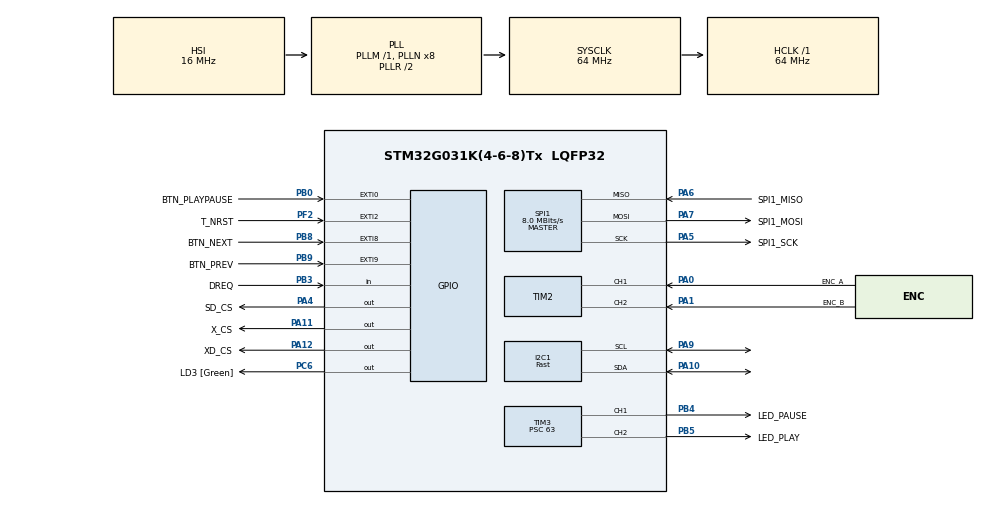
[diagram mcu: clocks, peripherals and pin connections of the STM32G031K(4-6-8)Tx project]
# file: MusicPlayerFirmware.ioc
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Dma.I2C1_TX.0.Direction=DMA_MEMORY_TO_PERIPH
Dma.I2C1_TX.0.EventEnable=DISABLE
Dma.I2C1_TX.0.Instance=DMA1_Channel1
Dma.I2C1_TX.0.MemDataAlignment=DMA_MDATAALIGN_BYTE
Dma.I2C1_TX.0.MemInc=DMA_MINC_ENABLE
Dma.I2C1_TX.0.Mode=DMA_NORMAL
Dma.I2C1_TX.0.PeriphDataAlignment=DMA_PDATAALIGN_BYTE
Dma.I2C1_TX.0.PeriphInc=DMA_PINC_DISABLE
Dma.I2C1_TX.0.Polarity=HAL_DMAMUX_REQ_GEN_RISING
Dma.I2C1_TX.0.Priority=DMA_PRIORITY_MEDIUM
Dma.I2C1_TX.0.RequestNumber=1
Dma.I2C1_TX.0.SignalID=NONE
Dma.I2C1_TX.0.SyncEnable=DISABLE
Dma.I2C1_TX.0.SyncPolarity=HAL_DMAMUX_SYNC_NO_EVENT
Dma.I2C1_TX.0.SyncRequestNumber=1
Dma.I2C1_TX.0.SyncSignalID=NONE
Dma.Request0=I2C1_TX
FATFS._CODE_PAGE=850
FATFS._FS_LOCK=1
FATFS._FS_MINIMIZE=1
FATFS._FS_NORTC=1
FATFS._FS_TINY=1
FATFS._NORTC_MDAY=1
FATFS._NORTC_MON=1
FATFS._NORTC_YEAR=2026
FATFS._STRF_ENCODE=0
FATFS._USE_FASTSEEK=0
FATFS._USE_LFN=0
FATFS._USE_MKFS=0
FATFS._USE_STRFUNC=0
I2C1.I2C_Speed_Mode=I2C_Fast
I2C1.OwnAddress=60
I2C1.Timing=0x00300617
Mcu.Family=STM32G0
Mcu.Name=STM32G031K(4-6-8)Tx
Mcu.Package=LQFP32
NVIC.DMA1_Channel1_IRQn=true\:0\:0\:false\:false\:true\:false\:true\:true
NVIC.EXTI0_1_IRQn=true\:0\:0\:false\:false\:true\:true\:true\:true
NVIC.EXTI2_3_IRQn=true\:0\:0\:false\:false\:true\:true\:true\:true
NVIC.EXTI4_15_IRQn=true\:0\:0\:false\:false\:true\:true\:true\:true
NVIC.I2C1_IRQn=true\:0\:0\:false\:false\:true\:true\:true\:true
NVIC.SPI1_IRQn=true\:0\:0\:false\:false\:true\:true\:true\:true
PA0.GPIO_Label=ENC_A
PA0.GPIO_ModeDefaultPP=GPIO_MODE_AF_PP
PA0.GPIO_PuPd=GPIO_NOPULL
PA0.GPIO_Speed=GPIO_SPEED_FREQ_LOW
PA0.Signal=S_TIM2_CH1_ETR
PA1.GPIO_Label=ENC_B
PA1.GPIO_ModeDefaultPP=GPIO_MODE_AF_PP
PA1.GPIO_PuPd=GPIO_NOPULL
PA1.GPIO_Speed=GPIO_SPEED_FREQ_LOW
PA1.Signal=S_TIM2_CH2
PA10.GPIO_Pu=GPIO_PULLUP
PA10.Mode=I2C
PA10.Signal=I2C1_SDA
PA11\ [PA9].GPIO_Label=X_CS
PA11\ [PA9].GPIO_ModeDefaultOutputPP=GPIO_MODE_OUTPUT_PP
PA11\ [PA9].GPIO_PuPd=GPIO_PULLUP
PA11\ [PA9].PinState=GPIO_PIN_SET
PA11\ [PA9].Signal=GPIO_Output
PA12\ [PA10].GPIO_Label=XD_CS
PA12\ [PA10].GPIO_ModeDefaultOutputPP=GPIO_MODE_OUTPUT_PP
PA12\ [PA10].GPIO_PuPd=GPIO_PULLUP
PA12\ [PA10].PinState=GPIO_PIN_SET
PA12\ [PA10].Signal=GPIO_Output
PA13.GPIO_Label=T_JTMS
PA13.Mode=Serial_Wire
PA13.Signal=SYS_SWDIO
PA14-BOOT0.GPIO_Label=T_JTCK
PA14-BOOT0.Mode=Serial_Wire
PA14-BOOT0.Signal=SYS_SWCLK
PA4.GPIO_Label=SD_CS
PA4.GPIO_ModeDefaultOutputPP=GPIO_MODE_OUTPUT_PP
PA4.GPIO_PuPd=GPIO_PULLUP
PA4.PinState=GPIO_PIN_SET
PA4.Signal=GPIO_Output
PA5.GPIO_Label=SPI1_SCK
PA5.GPIO_PuPd=GPIO_NOPULL
PA5.Mode=Full_Duplex_Master
PA5.Signal=SPI1_SCK
PA6.GPIO_Label=SPI1_MISO
PA6.GPIO_PuPd=GPIO_PULLUP
PA6.Mode=Full_Duplex_Master
PA6.Signal=SPI1_MISO
PA7.GPIO_Label=SPI1_MOSI
PA7.GPIO_PuPd=GPIO_PULLUP
PA7.Mode=Full_Duplex_Master
PA7.Signal=SPI1_MOSI
PA9.GPIO_Pu=GPIO_PULLUP
PA9.Mode=I2C
PA9.Signal=I2C1_SCL
PB0.GPIO_Label=BTN_PLAYPAUSE
PB0.GPIO_PuPd=GPIO_PULLDOWN
PB0.Signal=GPXTI0
PB3.GPIO_Label=DREQ
PB3.GPIO_PuPd=GPIO_PULLDOWN
PB3.Signal=GPIO_Input
PB4.GPIO_Label=LED_PAUSE
PB4.Signal=S_TIM3_CH1
PB5.GPIO_Label=LED_PLAY
PB5.Signal=S_TIM3_CH2
PB8.GPIO_Label=BTN_NEXT
PB8.GPIO_PuPd=GPIO_PULLDOWN
PB8.Signal=GPXTI8
PB9.GPIO_Label=BTN_PREV
PB9.GPIO_PuPd=GPIO_PULLDOWN
PB9.Signal=GPXTI9
PC14-OSC32_IN\ (PC14).Mode=LSE-External-Oscillator
PC14-OSC32_IN\ (PC14).Signal=RCC_OSC32_IN
PC15-OSC32_OUT\ (PC15).Mode=LSE-External-Oscillator
PC15-OSC32_OUT\ (PC15).Signal=RCC_OSC32_OUT
PC6.GPIO_Label=LD3 [Green]
PC6.Signal=GPIO_Output
PF2\ -\ NRST.GPIO_Label=T_NRST
PF2\ -\ NRST.Signal=GPXTI2
ProjectManager.HeapSize=0x200
ProjectManager.StackSize=0x400
ProjectManager.TargetToolchain=CMake
RCC.ADCFreq_Value=64000000
RCC.AHBFreq_Value=64000000
RCC.CortexFreq_Value=64000000
RCC.EXTERNAL_CLOCK_VALUE=12288000
RCC.HCLKFreq_Value=64000000
RCC.HSE_VALUE=8000000
RCC.HSI_VALUE=16000000
RCC.I2C1CLockSelection=RCC_I2C1CLKSOURCE_HSI
RCC.RTCClockSelection=RCC_RTCCLKSOURCE_LSE
RCC.SYSCLKFreq_VALUE=64000000
RCC.SYSCLKSource=RCC_SYSCLKSOURCE_PLLCLK
RCC.VCOOutputFreq_Value=128000000
SH.S_TIM2_CH1_ETR.0=TIM2_CH1,Encoder_Interface
SH.S_TIM2_CH2.0=TIM2_CH2,Encoder_Interface
SH.S_TIM3_CH1.0=TIM3_CH1,PWM Generation1 CH1
SH.S_TIM3_CH2.0=TIM3_CH2,PWM Generation2 CH2
SPI1.BaudRatePrescaler=SPI_BAUDRATEPRESCALER_8
SPI1.CalculateBaudRate=8.0 MBits/s
SPI1.Direction=SPI_DIRECTION_2LINES
SPI1.Mode=SPI_MODE_MASTER
SPI1.VirtualType=VM_MASTER
TIM2.EncoderMode=TIM_ENCODERMODE_TI12
TIM2.IC1Filter=0
TIM2.IC1Polarity=TIM_ICPOLARITY_FALLING
TIM2.IC2Filter=0
TIM2.IC2Polarity=TIM_ICPOLARITY_FALLING
TIM3.AutoReloadPreload=TIM_AUTORELOAD_PRELOAD_ENABLE
TIM3.Channel-PWM\ Generation1\ CH1=TIM_CHANNEL_1
TIM3.Channel-PWM\ Generation2\ CH2=TIM_CHANNEL_2
TIM3.OCMode_PWM-PWM\ Generation2\ CH2=TIM_OCMODE_PWM1
TIM3.Period=999
TIM3.Prescaler=63
TIM3.Pulse-PWM\ Generation1\ CH1=250
TIM3.Pulse-PWM\ Generation2\ CH2=250
VP_FATFS_VS_Generic.Mode=User_defined
board=NUCLEO-G031K8

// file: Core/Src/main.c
/* USER CODE BEGIN Header */
/**
  ******************************************************************************
  * @file           : main.c
  * @brief          : Main program body
  ******************************************************************************
  */
/* USER CODE END Header */
#include "main.h"
#include "dma.h"
#include "app_fatfs.h"
#include "i2c.h"
#include "spi.h"
#include "tim.h"
#include "gpio.h"

/* USER CODE BEGIN Includes */
#include <stdbool.h>
#include <string.h>
#include "ssd1306.h"
#include "ssd1306_fonts.h"
#include "vs1053.h"
#include "store.h"
/* USER CODE END Includes */

/* USER CODE BEGIN PTD */
typedef enum Event {
    EVENT_NONE,
    EVENT_NEXT,
    EVENT_PREV
} Event_t;

typedef struct EventQueue {
    volatile uint8_t head;
    volatile uint8_t tail;
    Event_t buffer[EVENT_QUEUE_SIZE];
} EventQueue_t;

typedef struct State {
    void (*init)(void);
    void (*run)(Event_t event);
} State_t;

typedef struct Encoder {
    TIM_HandleTypeDef* htim;
    int32_t last_counter;
    int32_t accum;
    int8_t steps;
} Encoder_t;

typedef enum ErrorType {
    ERROR_NONE,
    ERROR_DISK,
    ERROR_RESET
} ErrorType_t;

typedef enum DisplayMode {
    DISPLAY_MODE_PLAYBACK,
    DISPLAY_MODE_ERROR
} DisplayMode_t;

typedef struct MP3Info {
    char title[64];
    uint16_t duration;
} MP3Info_t;

typedef struct Flags {
    bool is_playing : 1;
    bool is_title : 1;
    bool is_tlen : 1;
} Flags_t;

/* USER CODE END PTD */

/* USER CODE BEGIN PD */
#define LED_PWM_TIM htim3
#define LED_PWM_SLOW 63999u
#define LED_PWM_FAST 63u
#define LED_PAUSE_CHANNEL TIM_CHANNEL_1
#define LED_PLAY_CHANNEL TIM_CHANNEL_2
#define COUNTS_PER_DETENT 4
#define SD_CHECK_INTERVAL 1000
#define DISPLAY_UPDATE_MS 250
#define LAST_VOLUME_UPDATE_MS 10000
/* USER CODE END PD */

/* USER CODE BEGIN PV */
/* Event Queue */
EventQueue_t event_queue = {0};

/* State */
const State_t STATE_PLAYBACK;
const State_t STATE_ERROR;

const State_t* current_state = &STATE_PLAYBACK;

/* Hardware */
Encoder_t encoder;
Flags_t flags = {0};
FATFS fatfs;
FIL file;

/* Audio */
uint16_t current_track = 1, max_tracks = 0;;
uint8_t volume = 0;
MP3Info_t mp3_info = {
    .title = "STARTUP...",
    .duration = 0
};

// MPEG-1 Layer III Bitrate Table (kbps)
static const uint16_t mpeg1_bitrates[15] =
    {0, 32, 40, 48, 56, 64, 80, 96, 112, 128, 160, 192, 224, 256, 320};

/* Error */
ErrorType_t current_error = ERROR_NONE;

/* USER CODE END PV */

void SystemClock_Config(void);
/* USER CODE BEGIN PFP */
/* Event queue */
void push_event(Event_t e);
Event_t pop_event(void);

/* State functions */
void change_state(const State_t* new_state);

void playback_init(void);
void playback_run(Event_t event);

void error_init(void);
void error_run(Event_t event);

/* Display */
void display_init(void);
void display_update(DisplayMode_t mode);

/* Rotary encoder */
void encoder_init(Encoder_t* enc, TIM_HandleTypeDef* htim);
void encoder_poll(Encoder_t* enc);

/* Audio */
uint8_t* track_path(void);
bool stream_chunk(void);
void open_file(void);
uint32_t read_be32(const uint8_t* p);
bool get_mp3_info(void);

/* SD card */
bool sdcard_init(void);
bool sdcard_recover(void);

/* USER CODE END PFP */

/* USER CODE BEGIN 0 */
const State_t STATE_PLAYBACK = {
    .init = playback_init,
    .run = playback_run,
};

const State_t STATE_ERROR = {
    .init = error_init,
    .run = error_run,
};

/* USER CODE END 0 */

int main(void) {

    /* MCU Configuration--------------------------------------------------------*/

    /* Reset of all peripherals, Initializes the Flash interface and the Systick. */
    HAL_Init();

    /* Configure the system clock */
    SystemClock_Config();

    /* Initialize all configured peripherals */
    MX_GPIO_Init();
    MX_DMA_Init();
    MX_I2C1_Init();
    MX_SPI1_Init();
    MX_TIM3_Init();
    MX_TIM2_Init();
    if (MX_FATFS_Init() != APP_OK) {
        Error_Handler();
    }
    /* USER CODE BEGIN 2 */
    encoder_init(&encoder, &htim2);
    display_init();

    if (!sdcard_init()) {
        current_error = ERROR_DISK;
        current_state = &STATE_ERROR;
    }

    if (!vs1053_init()) {
        current_error = ERROR_RESET;
        current_state = &STATE_ERROR;
    }

    if (!volume_load()) {
        volume = 50;
    }
    vs1053_set_volume(volume);

    display_update(DISPLAY_MODE_PLAYBACK);

    current_state->init();
    /* USER CODE END 2 */

    /* Infinite loop */
    /* USER CODE BEGIN WHILE */
    while (1) {
        // update the current encoder value
        encoder_poll(&encoder);
        static uint8_t last_saved_volume = 0;
        static uint32_t last_volume_change = 0;

        // use the encoder steps to a volume % in steps of 5
        if (encoder.steps != 0) {
            int16_t new_volume = (int16_t)(volume + encoder.steps * 5);

            if (new_volume < 0) new_volume = 0;
            if (new_volume > 100) new_volume = 100;

            volume = new_volume;
            encoder.steps = 0;
            vs1053_set_volume(volume);
            last_volume_change = HAL_GetTick();
        }

        // save after seconds to reduce flash where
        if (volume != last_saved_volume &&
            (HAL_GetTick() - last_volume_change) > LAST_VOLUME_UPDATE_MS) {
            if (volume_save()) {
                last_saved_volume = volume;
            }
        }

        // run the current state
        const Event_t event = pop_event();
        if (current_state->run) {
            current_state->run(event);
        }
        /* USER CODE END WHILE */

    }
}

void SystemClock_Config(void) {
    RCC_OscInitTypeDef RCC_OscInitStruct = {0};
    RCC_ClkInitTypeDef RCC_ClkInitStruct = {0};

    /** Configure the main internal regulator output voltage
    */
    HAL_PWREx_ControlVoltageScaling(PWR_REGULATOR_VOLTAGE_SCALE1);

    /** Initializes the RCC Oscillators according to the specified parameters
    * in the RCC_OscInitTypeDef structure.
    */
    RCC_OscInitStruct.OscillatorType = RCC_OSCILLATORTYPE_HSI;
    RCC_OscInitStruct.HSIState = RCC_HSI_ON;
    RCC_OscInitStruct.HSIDiv = RCC_HSI_DIV1;
    RCC_OscInitStruct.HSICalibrationValue = RCC_HSICALIBRATION_DEFAULT;
    RCC_OscInitStruct.PLL.PLLState = RCC_PLL_ON;
    RCC_OscInitStruct.PLL.PLLSource = RCC_PLLSOURCE_HSI;
    RCC_OscInitStruct.PLL.PLLM = RCC_PLLM_DIV1;
    RCC_OscInitStruct.PLL.PLLN = 8;
    RCC_OscInitStruct.PLL.PLLP = RCC_PLLP_DIV2;
    RCC_OscInitStruct.PLL.PLLQ = RCC_PLLQ_DIV2;
    RCC_OscInitStruct.PLL.PLLR = RCC_PLLR_DIV2;
    if (HAL_RCC_OscConfig(&RCC_OscInitStruct) != HAL_OK) {
        Error_Handler();
    }

    /** Initializes the CPU, AHB and APB buses clocks
    */
    RCC_ClkInitStruct.ClockType = RCC_CLOCKTYPE_HCLK | RCC_CLOCKTYPE_SYSCLK
        | RCC_CLOCKTYPE_PCLK1;
    RCC_ClkInitStruct.SYSCLKSource = RCC_SYSCLKSOURCE_PLLCLK;
    RCC_ClkInitStruct.AHBCLKDivider = RCC_SYSCLK_DIV1;
    RCC_ClkInitStruct.APB1CLKDivider = RCC_HCLK_DIV1;

    if (HAL_RCC_ClockConfig(&RCC_ClkInitStruct, FLASH_LATENCY_2) != HAL_OK) {
        Error_Handler();
    }
}

/* USER CODE BEGIN 4 */
void HAL_GPIO_EXTI_Rising_Callback(uint16_t GPIO_Pin) {
    static uint32_t last_tick = 0;
    const uint32_t current_tick = HAL_GetTick();

    // had a very bouncy button
    if ((current_tick - last_tick) < 100)
        return;

    last_tick = current_tick;

    switch (GPIO_Pin) {
    case BTN_PLAYPAUSE_Pin:
        flags.is_playing ^= true;
        if (flags.is_playing) {
            HAL_TIM_PWM_Stop(&LED_PWM_TIM, LED_PAUSE_CHANNEL);
            HAL_TIM_PWM_Start(&LED_PWM_TIM, LED_PLAY_CHANNEL);
        }
        else {
            HAL_TIM_PWM_Start(&LED_PWM_TIM, LED_PAUSE_CHANNEL);
            HAL_TIM_PWM_Stop(&LED_PWM_TIM, LED_PLAY_CHANNEL);
        }
        break;
    case BTN_NEXT_Pin:
        push_event(EVENT_NEXT);
        break;
    case BTN_PREV_Pin:
        push_event(EVENT_PREV);
        break;
    default:
        Error_Handler();
        break;
    }
}

void HAL_I2C_MemTxCpltCallback(I2C_HandleTypeDef* hi2c) {
    if (hi2c == &SSD1306_I2C_PORT) {
        ssd1306_dma_busy = false;
    }
}

void HAL_I2C_ErrorCallback(I2C_HandleTypeDef* hi2c) {
    if (hi2c == &SSD1306_I2C_PORT) {
        ssd1306_dma_busy = false;
    }
}

uint8_t* track_path(void) {
    static uint8_t track_path_buffer[] = "audio/000.mp3";

    if (current_track > max_tracks)
        current_track = 1;

    if (current_track < 1)
        current_track = max_tracks;

    // Write digits into the buffer
    track_path_buffer[6] = '0' + (current_track / 100);
    track_path_buffer[7] = '0' + ((current_track / 10) % 10);
    track_path_buffer[8] = '0' + (current_track % 10);

    return track_path_buffer;
}

bool stream_chunk(void) {
    uint8_t buffer[1024] = {};
    UINT bytes_read = 0;

    if (f_read(&file, buffer, sizeof(buffer), &bytes_read) != FR_OK) {
        f_close(&file);
        vs1053_start_new_track();
        current_error = ERROR_DISK;
        change_state(&STATE_ERROR);
        return false;
    }

    if (bytes_read == 0)
        return false;

    vs1053_send_data(buffer, bytes_read);
    return true;
}

uint32_t read_be32(const uint8_t* p) {
    return ((uint32_t)p[0] << 24) | ((uint32_t)p[1] << 16) | ((uint32_t)p[2] << 8) | p[3];
}

bool get_mp3_info(void) {
    uint8_t buf[64];
    UINT br;

    mp3_info.duration = 0;
    mp3_info.title[0] = '\0';

    f_lseek(&file, 0);
    if (f_read(&file, buf, 10, &br) != FR_OK || br != 10)
        return false;

    uint32_t audio_start = 0;

    // parse the ID3 tag
    if (memcmp(buf, "ID3", 3) == 0) {
        const uint8_t version = buf[3];

        // 28‑bit tag size
        const uint32_t tag_size =
            ((uint32_t)buf[6] << 21) |
            ((uint32_t)buf[7] << 14) |
            ((uint32_t)buf[8] << 7) |
            buf[9];

        uint32_t pos = 10;
        const uint32_t end = 10 + tag_size;
        audio_start = end;

        f_lseek(&file, pos);

        // Iterate through ID3 frames
        while (pos + 6 < end) {
            const uint8_t need = (version == 2) ? 6 : 10;
            if (f_read(&file, buf, need, &br) != FR_OK || br != need) break;
            if (buf[0] == 0) break;

            uint32_t size;
            flags.is_title = false;
            flags.is_tlen = false;

            if (version == 2) {
                flags.is_title = (memcmp(buf, "TT2", 3) == 0);
                flags.is_tlen = (memcmp(buf, "TLE", 3) == 0);
                size = ((uint32_t)buf[3] << 16) | ((uint32_t)buf[4] << 8) | buf[5];
            }
            else {
                flags.is_title = (memcmp(buf, "TIT2", 4) == 0);
                flags.is_tlen = (memcmp(buf, "TLEN", 4) == 0);
                size = (version == 4)
                           ? (((uint32_t)buf[4] << 21) | ((uint32_t)buf[5] << 14) | ((uint32_t)buf[6] << 7) | buf[7])
                           : (((uint32_t)buf[4] << 24) | ((uint32_t)buf[5] << 16) | ((uint32_t)buf[6] << 8) | buf[7]);
            }

            if (size == 0 || size > 100000) {
                pos += need;
                f_lseek(&file, pos);
                continue;
            }

            // Extract the title
            if (flags.is_title && mp3_info.title[0] == '\0') {
                const uint32_t r = (size < 64) ? size : 64;
                if (f_read(&file, buf, r, &br) == FR_OK && br == r) {
                    if (buf[0] == 0) {
                        memcpy(mp3_info.title, &buf[1], r - 1);
                        mp3_info.title[r - 1] = '\0';
                    }
                    else if (buf[0] == 1) {
                        uint8_t j = 0;
                        for (uint32_t i = 3; i + 1 < r && j < 63; i += 2) {
                            if (buf[i] == 0) break;
                            mp3_info.title[j++] = buf[i];
                        }
                        mp3_info.title[j] = '\0';
                    }
                }
            }

            // Extract TLEN (duration in ms)
            else if (flags.is_tlen && mp3_info.duration == 0) {
                const uint32_t r = (size < 12) ? size : 12;
                if (f_read(&file, buf, r, &br) == FR_OK && br == r) {
                    uint32_t ms = 0;
                    for (uint8_t i = 0; i < r && buf[i] >= '0' && buf[i] <= '9'; i++)
                        ms = ms * 10 + (buf[i] - '0');
                    mp3_info.duration = ms / 1000;
                }
            }
            pos += need + size;
            f_lseek(&file, pos);

            if (mp3_info.title[0] != '\0' && mp3_info.duration > 0) break;
        }
    }

    // parse the fist MP3 header
    f_lseek(&file, audio_start);
    if (f_read(&file, buf, 4, &br) != FR_OK || br != 4) return true;

    // Validate frame sync
    if ((buf[0] != 0xFF) || (buf[1] & 0xE0) != 0xE0) return true;

    const uint8_t ver = (buf[1] >> 3) & 0x03;
    const uint8_t br_i = (buf[2] >> 4) & 0x0F;
    const uint8_t sr_i = (buf[2] >> 2) & 0x03;

    if (sr_i == 3) return true;

    // Sample rate lookup table
    static const uint16_t sr_table[3][3] = {
        {44100, 48000, 32000},
        {22050, 24000, 16000},
        {11025, 12000, 8000}
    };

    const uint16_t sample_rate = sr_table[ver == 3 ? 0 : ver == 2 ? 1 : 2][sr_i];

    // Side info size depends on MPEG version
    const uint8_t side_info = (ver == 3) ? 32 : 17;

    f_lseek(&file, audio_start + 4 + side_info);
    if (f_read(&file, buf, 8, &br) == FR_OK && br == 8) {
        // Xing / Info VBR header
        if (memcmp(buf, "Xing", 4) == 0 || memcmp(buf, "Info", 4) == 0) {
            if (buf[7] & 0x01) {
                if (f_read(&file, buf, 4, &br) == FR_OK && br == 4) {
                    mp3_info.duration = (read_be32(buf) * 1152UL) / sample_rate;
                }
            }
        }
        // VBRI header
        else if (memcmp(buf, "VBRI", 4) == 0) {
            f_lseek(&file, audio_start + 4 + side_info + 10);
            if (f_read(&file, buf, 4, &br) == FR_OK && br == 4) {
                mp3_info.duration = (read_be32(buf) * 1152UL) / sample_rate;
            }
        }
    }

    // Fallback: estimate duration from file size + bitrate
    if (mp3_info.duration == 0 && br_i > 0 && br_i < 15 && ver == 3) {
        const uint32_t file_size = f_size(&file);
        if (file_size > audio_start) {
            const uint32_t audio_bytes = file_size - audio_start;
            mp3_info.duration = (audio_bytes / 125) / mpeg1_bitrates[br_i];
        }
    }

    return true;
}

void open_file(void) {
    const uint8_t* path = track_path();

    // Try opening current track
    if (f_open(&file, (const TCHAR*)path, FA_READ) != FR_OK) {
        // Wrap to track 1
        current_track = 1;
        path = track_path();

        if (f_open(&file, (const TCHAR*)path, FA_READ) != FR_OK) {
            f_close(&file);
            vs1053_start_new_track();
            current_error = ERROR_DISK;
            change_state(&STATE_ERROR);
        }
    }

    if (!get_mp3_info()) {
        strncpy(mp3_info.title, "UNKNOWN", sizeof(mp3_info.title) - 1);
        mp3_info.title[sizeof(mp3_info.title) - 1] = '\0';
        mp3_info.duration = 0;
    }
}

void playback_init(void) {
    __HAL_TIM_SET_PRESCALER(&LED_PWM_TIM, LED_PWM_FAST);
    HAL_TIM_PWM_Start(&LED_PWM_TIM, LED_PAUSE_CHANNEL);
    HAL_TIM_PWM_Stop(&LED_PWM_TIM, LED_PLAY_CHANNEL);

    DIR dir;
    FILINFO fno;

    max_tracks = 0;

    FRESULT res = f_opendir(&dir, "audio");
    if (res == FR_OK) {
        for (;;) {
            res = f_readdir(&dir, &fno); // Read a directory item
            if (res != FR_OK || fno.fname[0] == 0) break;

            if (!(fno.fattrib & (AM_DIR | AM_HID | AM_SYS))) {
                ++max_tracks;
            }
        }
        f_closedir(&dir); // Close the directory
    }

    open_file();
}

void playback_run(const Event_t event) {
    switch (event) {
    case EVENT_NEXT:
        f_close(&file);
        vs1053_start_new_track();

        ++current_track;
        open_file();
        break;
    case EVENT_PREV:
        f_close(&file);
        vs1053_start_new_track();

        --current_track;
        open_file();
        break;
    case EVENT_NONE:
    default:
        break;
    }

    display_update(DISPLAY_MODE_PLAYBACK);

    if (!flags.is_playing)
        return;

    // play the file
    if (!stream_chunk()) {
        HAL_Delay(DISPLAY_UPDATE_MS);
        display_update(DISPLAY_MODE_PLAYBACK);
        HAL_Delay(1000);
        // End of file reached → go to next track
        f_close(&file);
        vs1053_start_new_track();

        ++current_track;
        open_file();
    }
}

void error_init(void) {
    f_close(&file);
    flags.is_playing = false;

    __HAL_TIM_SET_PRESCALER(&LED_PWM_TIM, LED_PWM_SLOW);
    HAL_TIM_PWM_Start(&LED_PWM_TIM, LED_PAUSE_CHANNEL);
    HAL_TIM_PWM_Stop(&LED_PWM_TIM, LED_PLAY_CHANNEL);
}

void error_run(const Event_t event) {
    (void)event;

    static uint32_t last_check = 0;
    static bool started = false;

    display_update(DISPLAY_MODE_ERROR);

    const uint32_t now = HAL_GetTick();

    switch (current_error) {
    case ERROR_NONE:
        change_state(&STATE_PLAYBACK);
        break;

    case ERROR_DISK:
        if (now - last_check >= SD_CHECK_INTERVAL) {
            last_check = now;

            if (sdcard_recover()) {
                current_error = ERROR_NONE;
                change_state(&STATE_PLAYBACK);
            }
        }
        break;

    case ERROR_RESET:
        if (!started) {
            HAL_TIM_PWM_Start(&LED_PWM_TIM, LED_PLAY_CHANNEL);
            started = true;
        }
        break;

    default:
        Error_Handler();
        break;
    }
}

void display_init(void) {
    ssd1306_Init();
    ssd1306_Fill(Black);
    ssd1306_SetCursor(0, 0);
    ssd1306_UpdateScreen();
}

void display_update(const DisplayMode_t mode) {
    const uint32_t current_time = HAL_GetTick();
    static uint32_t last_update = 0;

    if (last_update != 0 && (current_time - last_update) < DISPLAY_UPDATE_MS)
        return;

    last_update = current_time;

    const uint16_t current_sec = vs1053_get_current_decode_time();

    // max chars at a font size of 7x10 + '/0'
    char buffer[19];

    static const char* const title_msg[] = {
        [DISPLAY_MODE_PLAYBACK] = "PLAYBACK >>",
        [DISPLAY_MODE_ERROR] = "|  ERROR  |"
    };

    static const char* const error_msg[] = {
        [ERROR_DISK] = "Reinsert the card",
        [ERROR_RESET] = "Reset the device",
    };

    ssd1306_Fill(Black);
    ssd1306_SetCursor(0, 0);
    ssd1306_WriteString((char*)title_msg[mode], Font_7x10, White);

    switch (mode) {
    case DISPLAY_MODE_PLAYBACK:
        ssd1306_SetCursor(84, 0);
        ssd1306_WriteString(flags.is_playing ? "PLAY" : "PAUSE", Font_7x10, White);

        // Volume
        buffer[0] = 'V';
        buffer[1] = 'o';
        buffer[2] = 'l';
        buffer[3] = 'u';
        buffer[4] = 'm';
        buffer[5] = 'e';
        buffer[6] = ':';
        buffer[7] = ' ';

        if (volume == 100) {
            buffer[8] = '1';
            buffer[9] = '0';
            buffer[10] = '0';
            buffer[11] = '%';
            buffer[12] = '\0';
        }
        else {
            buffer[8] = (volume / 10) + '0';
            buffer[9] = (volume % 10) + '0';
            buffer[10] = '%';
            buffer[11] = '\0';
        }

        ssd1306_SetCursor(0, 12);
        ssd1306_WriteString(buffer, Font_7x10, White);

        // Scrolling title
        ssd1306_SetCursor(0, 24);
        const uint8_t len = strlen(mp3_info.title);
        const uint8_t win = 18;

        static uint8_t paused = 1;
        static uint8_t tick = 0;
        static uint8_t off = 0;

        static uint16_t last_track = 0;
        if (last_track != current_track) {
            last_track = current_track;
            off = 0;
            tick = 0;
            paused = 1;
        }

        if (len > win) {
            if (off == 0 && paused) {
                if (++tick >= 8) {
                    tick = 0;
                    paused = 0;
                }
            }
            else {
                if (++tick >= 2) {
                    tick = 0;
                    if (++off > len - win) {
                        off = 0;
                        paused = 1;
                        tick = 0;
                    }
                }
            }

            memcpy(buffer, &mp3_info.title[off], win);
            buffer[win] = 0;
            ssd1306_WriteString(buffer, Font_7x10, White);
        }
        else {
            ssd1306_WriteString(mp3_info.title, Font_7x10, White);
        }

        // Current time
        uint16_t hours = current_sec / 3600;
        uint8_t minutes = (current_sec % 3600) / 60;
        uint8_t seconds = current_sec % 60;

        buffer[0] = (hours / 10) + '0';
        buffer[1] = (hours % 10) + '0';
        buffer[2] = ':';
        buffer[3] = (minutes / 10) + '0';
        buffer[4] = (minutes % 10) + '0';
        buffer[5] = ':';
        buffer[6] = (seconds / 10) + '0';
        buffer[7] = (seconds % 10) + '0';
        buffer[8] = '\0';

        ssd1306_SetCursor(0, 36);
        ssd1306_WriteString(buffer, Font_7x10, White);

        // Duration
        hours = mp3_info.duration / 3600;
        minutes = (mp3_info.duration % 3600) / 60;
        seconds = mp3_info.duration % 60;

        buffer[0] = (hours / 10) + '0';
        buffer[1] = (hours % 10) + '0';
        buffer[2] = ':';
        buffer[3] = (minutes / 10) + '0';
        buffer[4] = (minutes % 10) + '0';
        buffer[5] = ':';
        buffer[6] = (seconds / 10) + '0';
        buffer[7] = (seconds % 10) + '0';
        buffer[8] = '\0';

        ssd1306_SetCursor(0, 48);
        ssd1306_WriteString(buffer, Font_7x10, White);
        break;

    case DISPLAY_MODE_ERROR:
        ssd1306_SetCursor(0, 22);
        ssd1306_WriteString((char*)error_msg[current_error], Font_7x10, White);
        break;
    default:
        Error_Handler();
        break;
    }

    ssd1306_UpdateScreen();
}

void encoder_init(Encoder_t* enc, TIM_HandleTypeDef* htim) {
    enc->htim = htim;
    enc->last_counter = (int32_t)__HAL_TIM_GET_COUNTER(htim);
    enc->accum = 0;
    HAL_TIM_Encoder_Start(htim, TIM_CHANNEL_ALL);
}

void encoder_poll(Encoder_t* enc) {
    const int32_t current_counter = (int32_t)__HAL_TIM_GET_COUNTER(enc->htim);
    const int32_t delta = current_counter - enc->last_counter;
    enc->last_counter = current_counter;
    enc->accum += delta;
    const int8_t detents = (int8_t)(enc->accum / COUNTS_PER_DETENT);
    enc->accum -= detents * COUNTS_PER_DETENT;
    enc->steps = detents;
}

bool sdcard_init(void) {
    if (disk_initialize(0) == 0 && f_mount(&fatfs, "", 1) == FR_OK) {
        return true;
    }
    return false;
}

bool sdcard_recover(void) {
    // set all the spi pins to high
    HAL_GPIO_WritePin(X_CS_GPIO_Port, X_CS_Pin, GPIO_PIN_SET);
    HAL_GPIO_WritePin(XD_CS_GPIO_Port, XD_CS_Pin, GPIO_PIN_SET);
    HAL_GPIO_WritePin(SD_CS_GPIO_Port, SD_CS_Pin, GPIO_PIN_SET);
    HAL_Delay(100);

    // unmount and reset the drive state
    f_mount(NULL, "", 0);
    extern Disk_drvTypeDef disk;
    disk.is_initialized[0] = 0;

    if (disk_initialize(0) != 0) return false;
    if (f_mount(&fatfs, "", 1) != FR_OK) return false;

    return true;
}

void change_state(const State_t* new_state) {
    if (current_state != new_state) {
        current_state = new_state;
        if (current_state->init) {
            current_state->init();
        }
    }
}

void push_event(const Event_t e) {
    const uint8_t head = event_queue.head;
    const uint8_t next = (head + 1) & (EVENT_QUEUE_SIZE - 1);
    if (next != event_queue.tail) {
        event_queue.buffer[head] = e;
        __DMB();
        event_queue.head = next;
    }
}

Event_t pop_event(void) {
    const uint8_t tail = event_queue.tail;
    if (tail == event_queue.head) return EVENT_NONE;
    const Event_t e = event_queue.buffer[tail];
    __DMB();
    event_queue.tail = (tail + 1) & (EVENT_QUEUE_SIZE - 1);
    return e;
}

/* USER CODE END 4 */

void Error_Handler(void) {
    /* USER CODE BEGIN Error_Handler_Debug */
    /* User can add his own implementation to report the HAL error return state */
    __disable_irq();

#ifdef DEBUG
    __BKPT(0);
#endif

    while (1) {
        HAL_GPIO_TogglePin(LD3_GPIO_Port, LD3_Pin);
        for (volatile uint32_t i = 0; i < 2000000; i++);
    }
    /* USER CODE END Error_Handler_Debug */
}
